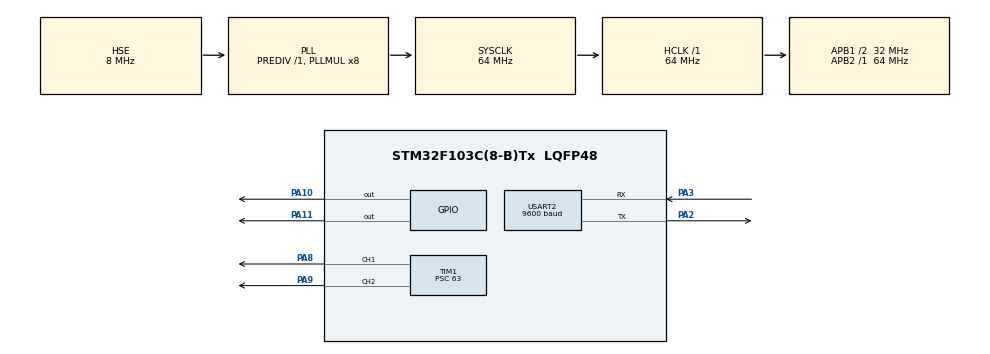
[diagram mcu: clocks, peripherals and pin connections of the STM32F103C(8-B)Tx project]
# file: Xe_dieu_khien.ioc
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Mcu.Family=STM32F1
Mcu.Name=STM32F103C(8-B)Tx
Mcu.Package=LQFP48
NVIC.PriorityGroup=NVIC_PRIORITYGROUP_4
NVIC.USART2_IRQn=true\:1\:0\:true\:false\:true\:true\:true\:true
PA10.Signal=GPIO_Output
PA11.Signal=GPIO_Output
PA13.Mode=Serial_Wire
PA13.Signal=SYS_JTMS-SWDIO
PA14.Mode=Serial_Wire
PA14.Signal=SYS_JTCK-SWCLK
PA2.Mode=Asynchronous
PA2.Signal=USART2_TX
PA3.Mode=Asynchronous
PA3.Signal=USART2_RX
PA8.Signal=S_TIM1_CH1
PA9.Signal=S_TIM1_CH2
PD0-OSC_IN.Mode=HSE-External-Oscillator
PD0-OSC_IN.Signal=RCC_OSC_IN
PD1-OSC_OUT.Mode=HSE-External-Oscillator
PD1-OSC_OUT.Signal=RCC_OSC_OUT
ProjectManager.HeapSize=0x200
ProjectManager.StackSize=0x400
ProjectManager.TargetToolchain=MDK-ARM V5.32
RCC.AHBFreq_Value=64000000
RCC.APB1CLKDivider=RCC_HCLK_DIV2
RCC.APB1Freq_Value=32000000
RCC.APB1TimFreq_Value=64000000
RCC.APB2Freq_Value=64000000
RCC.APB2TimFreq_Value=64000000
RCC.HCLKFreq_Value=64000000
RCC.PLLMUL=RCC_PLL_MUL8
RCC.PLLSourceVirtual=RCC_PLLSOURCE_HSE
RCC.SYSCLKFreq_VALUE=64000000
RCC.SYSCLKSource=RCC_SYSCLKSOURCE_PLLCLK
RCC.USBFreq_Value=64000000
SH.S_TIM1_CH1.0=TIM1_CH1,PWM Generation1 CH1
SH.S_TIM1_CH2.0=TIM1_CH2,PWM Generation2 CH2
TIM1.Channel-PWM\ Generation1\ CH1=TIM_CHANNEL_1
TIM1.Channel-PWM\ Generation2\ CH2=TIM_CHANNEL_2
TIM1.Period=999
TIM1.Prescaler=63
USART2.BaudRate=9600
USART2.VirtualMode=VM_ASYNC
VP_TIM1_VS_ClockSourceINT.Mode=Internal
board=custom

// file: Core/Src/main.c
/* USER CODE BEGIN Header */
/**
  ******************************************************************************
  * @file           : main.c
  * @brief          : Main program body
  ******************************************************************************
  * @attention
  *
  * Copyright (c) 2024 STMicroelectronics.
  * All rights reserved.
  *
  * This software is licensed under terms that can be found in the LICENSE file
  * in the root directory of this software component.
  * If no LICENSE file comes with this software, it is provided AS-IS.
  *
  ******************************************************************************
  */
/* USER CODE END Header */
#include "main.h"

/* USER CODE BEGIN Includes */
#include "motor_driver.h"
#include "car.h"
/* USER CODE END Includes */

TIM_HandleTypeDef htim1;

UART_HandleTypeDef huart2;

void SystemClock_Config(void);
static void MX_GPIO_Init(void);
static void MX_TIM1_Init(void);
static void MX_USART2_UART_Init(void);

/* USER CODE BEGIN 0 */

uint8_t data_rx;
uint8_t a,b;
uint8_t uart_flag;
uint8_t car_speed = 10;

void HAL_UART_RxCpltCallback(UART_HandleTypeDef *huart)
{
	if(huart->Instance == huart2.Instance)
	{
		uart_flag = 1;
	}
	HAL_UART_Receive_IT(&huart2, &data_rx, 1);

}
/* USER CODE END 0 */

int main(void)
{

  /* MCU Configuration--------------------------------------------------------*/

  /* Reset of all peripherals, Initializes the Flash interface and the Systick. */
  HAL_Init();

  /* Configure the system clock */
  SystemClock_Config();

  /* Initialize all configured peripherals */
  MX_GPIO_Init();
  MX_TIM1_Init();
  MX_USART2_UART_Init();
  /* USER CODE BEGIN 2 */
	car_init(&htim1);
	HAL_UART_Receive_IT(&huart2, &data_rx, 1);
  /* USER CODE END 2 */

  /* Infinite loop */
  while (1)
  {

    /* USER CODE BEGIN 3 */
		while(uart_flag)
		{
			switch(data_rx)
		{
			case 'S':
				car_control(CAR_STOP, 0);
				break;
			case 'F':
				car_control(CAR_FORWARD, car_speed);
				break;
			case 'B':
				car_control(CAR_BACKWARD, car_speed);
				break;
			case 'L':
				car_control(CAR_LEFT, car_speed);
				break;
			case 'R':
				car_control(CAR_RIGHT, car_speed);
				break;
			default:
				if(data_rx >= '0' && data_rx <= '9')
				{
					car_speed = (data_rx - '0') * 10;
				}
				else if(data_rx == 'q')
				{
					car_speed = 100;
				}
				break;
		}
		uart_flag = 0;
		}

  }
  /* USER CODE END 3 */
}

void SystemClock_Config(void)
{
  RCC_OscInitTypeDef RCC_OscInitStruct = {0};
  RCC_ClkInitTypeDef RCC_ClkInitStruct = {0};

  /** Initializes the RCC Oscillators according to the specified parameters
  * in the RCC_OscInitTypeDef structure.
  */
  RCC_OscInitStruct.OscillatorType = RCC_OSCILLATORTYPE_HSE;
  RCC_OscInitStruct.HSEState = RCC_HSE_ON;
  RCC_OscInitStruct.HSEPredivValue = RCC_HSE_PREDIV_DIV1;
  RCC_OscInitStruct.HSIState = RCC_HSI_ON;
  RCC_OscInitStruct.PLL.PLLState = RCC_PLL_ON;
  RCC_OscInitStruct.PLL.PLLSource = RCC_PLLSOURCE_HSE;
  RCC_OscInitStruct.PLL.PLLMUL = RCC_PLL_MUL8;
  if (HAL_RCC_OscConfig(&RCC_OscInitStruct) != HAL_OK)
  {
    Error_Handler();
  }

  /** Initializes the CPU, AHB and APB buses clocks
  */
  RCC_ClkInitStruct.ClockType = RCC_CLOCKTYPE_HCLK|RCC_CLOCKTYPE_SYSCLK
                              |RCC_CLOCKTYPE_PCLK1|RCC_CLOCKTYPE_PCLK2;
  RCC_ClkInitStruct.SYSCLKSource = RCC_SYSCLKSOURCE_PLLCLK;
  RCC_ClkInitStruct.AHBCLKDivider = RCC_SYSCLK_DIV1;
  RCC_ClkInitStruct.APB1CLKDivider = RCC_HCLK_DIV2;
  RCC_ClkInitStruct.APB2CLKDivider = RCC_HCLK_DIV1;

  if (HAL_RCC_ClockConfig(&RCC_ClkInitStruct, FLASH_LATENCY_2) != HAL_OK)
  {
    Error_Handler();
  }
}

static void MX_TIM1_Init(void)
{

  TIM_ClockConfigTypeDef sClockSourceConfig = {0};
  TIM_MasterConfigTypeDef sMasterConfig = {0};
  TIM_OC_InitTypeDef sConfigOC = {0};
  TIM_BreakDeadTimeConfigTypeDef sBreakDeadTimeConfig = {0};

  htim1.Instance = TIM1;
  htim1.Init.Prescaler = 63;
  htim1.Init.CounterMode = TIM_COUNTERMODE_UP;
  htim1.Init.Period = 999;
  htim1.Init.ClockDivision = TIM_CLOCKDIVISION_DIV1;
  htim1.Init.RepetitionCounter = 0;
  htim1.Init.AutoReloadPreload = TIM_AUTORELOAD_PRELOAD_DISABLE;
  if (HAL_TIM_Base_Init(&htim1) != HAL_OK)
  {
    Error_Handler();
  }
  sClockSourceConfig.ClockSource = TIM_CLOCKSOURCE_INTERNAL;
  if (HAL_TIM_ConfigClockSource(&htim1, &sClockSourceConfig) != HAL_OK)
  {
    Error_Handler();
  }
  if (HAL_TIM_PWM_Init(&htim1) != HAL_OK)
  {
    Error_Handler();
  }
  sMasterConfig.MasterOutputTrigger = TIM_TRGO_RESET;
  sMasterConfig.MasterSlaveMode = TIM_MASTERSLAVEMODE_DISABLE;
  if (HAL_TIMEx_MasterConfigSynchronization(&htim1, &sMasterConfig) != HAL_OK)
  {
    Error_Handler();
  }
  sConfigOC.OCMode = TIM_OCMODE_PWM1;
  sConfigOC.Pulse = 0;
  sConfigOC.OCPolarity = TIM_OCPOLARITY_HIGH;
  sConfigOC.OCNPolarity = TIM_OCNPOLARITY_HIGH;
  sConfigOC.OCFastMode = TIM_OCFAST_DISABLE;
  sConfigOC.OCIdleState = TIM_OCIDLESTATE_RESET;
  sConfigOC.OCNIdleState = TIM_OCNIDLESTATE_RESET;
  if (HAL_TIM_PWM_ConfigChannel(&htim1, &sConfigOC, TIM_CHANNEL_1) != HAL_OK)
  {
    Error_Handler();
  }
  if (HAL_TIM_PWM_ConfigChannel(&htim1, &sConfigOC, TIM_CHANNEL_2) != HAL_OK)
  {
    Error_Handler();
  }
  sBreakDeadTimeConfig.OffStateRunMode = TIM_OSSR_DISABLE;
  sBreakDeadTimeConfig.OffStateIDLEMode = TIM_OSSI_DISABLE;
  sBreakDeadTimeConfig.LockLevel = TIM_LOCKLEVEL_OFF;
  sBreakDeadTimeConfig.DeadTime = 0;
  sBreakDeadTimeConfig.BreakState = TIM_BREAK_DISABLE;
  sBreakDeadTimeConfig.BreakPolarity = TIM_BREAKPOLARITY_HIGH;
  sBreakDeadTimeConfig.AutomaticOutput = TIM_AUTOMATICOUTPUT_DISABLE;
  if (HAL_TIMEx_ConfigBreakDeadTime(&htim1, &sBreakDeadTimeConfig) != HAL_OK)
  {
    Error_Handler();
  }
  HAL_TIM_MspPostInit(&htim1);

}

static void MX_USART2_UART_Init(void)
{

  huart2.Instance = USART2;
  huart2.Init.BaudRate = 9600;
  huart2.Init.WordLength = UART_WORDLENGTH_8B;
  huart2.Init.StopBits = UART_STOPBITS_1;
  huart2.Init.Parity = UART_PARITY_NONE;
  huart2.Init.Mode = UART_MODE_TX_RX;
  huart2.Init.HwFlowCtl = UART_HWCONTROL_NONE;
  huart2.Init.OverSampling = UART_OVERSAMPLING_16;
  if (HAL_UART_Init(&huart2) != HAL_OK)
  {
    Error_Handler();
  }

}

static void MX_GPIO_Init(void)
{
  GPIO_InitTypeDef GPIO_InitStruct = {0};

  /* GPIO Ports Clock Enable */
  __HAL_RCC_GPIOD_CLK_ENABLE();
  __HAL_RCC_GPIOA_CLK_ENABLE();

  /*Configure GPIO pin Output Level */
  HAL_GPIO_WritePin(GPIOA, GPIO_PIN_10|GPIO_PIN_11, GPIO_PIN_RESET);

  /*Configure GPIO pins : PA10 PA11 */
  GPIO_InitStruct.Pin = GPIO_PIN_10|GPIO_PIN_11;
  GPIO_InitStruct.Mode = GPIO_MODE_OUTPUT_PP;
  GPIO_InitStruct.Pull = GPIO_NOPULL;
  GPIO_InitStruct.Speed = GPIO_SPEED_FREQ_LOW;
  HAL_GPIO_Init(GPIOA, &GPIO_InitStruct);

}

void Error_Handler(void)
{
  __disable_irq();
  while (1)
  {
  }
}
